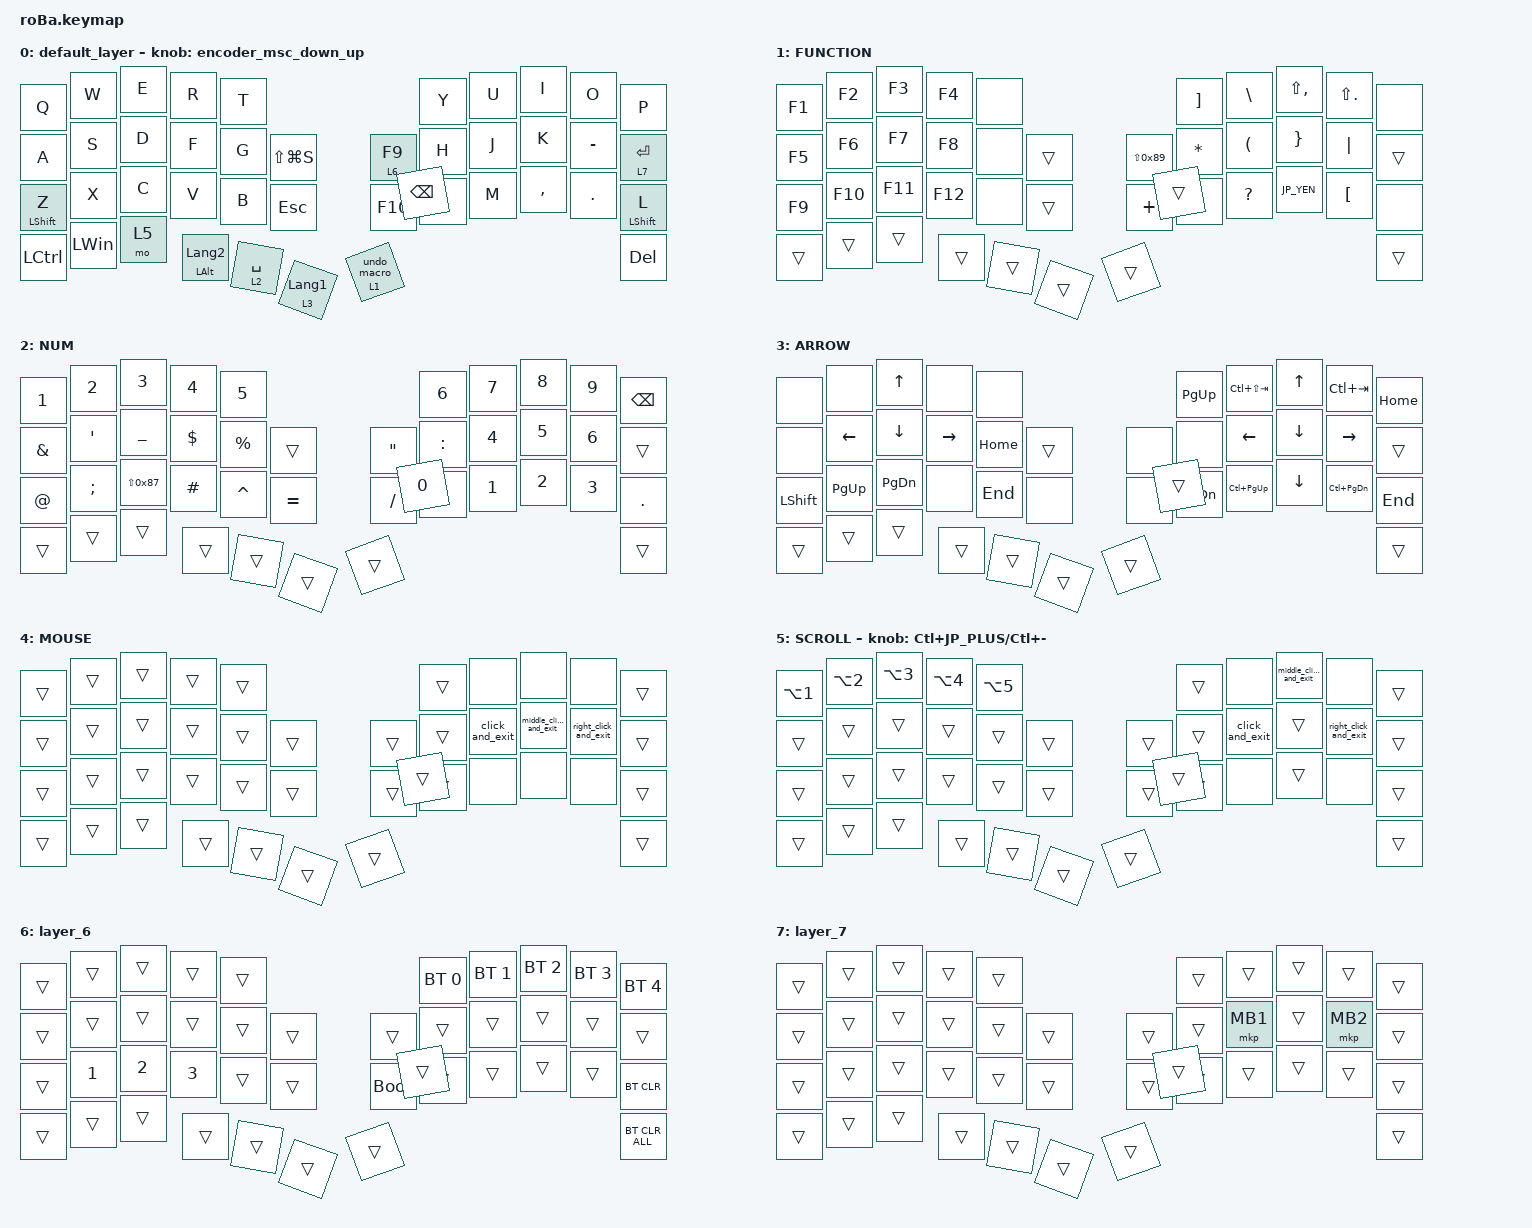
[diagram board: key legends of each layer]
#include <input/processors.dtsi>
#include <behaviors.dtsi>
#include <dt-bindings/zmk/bt.h>
#include <dt-bindings/zmk/keys.h>
#include <dt-bindings/zmk/pointing.h>

// OS設定を日本語キーボードのまま使用するための変換定義

#define JP_DQUOTE       AT                // "
#define JP_AMPERSAND    CARET             // &
#define JP_QUOTE        AMPERSAND         // '
#define JP_EQUAL        UNDER             // =
#define JP_CARET        EQUAL             // ^
#define JP_YEN          0x89              // ¥
#define JP_PLUS         COLON             // +
#define JP_TILDE        PLUS              // ~
#define JP_PIPE         LS(0x89)          // |
#define JP_AT           LEFT_BRACKET      // @
#define JP_COLON        SINGLE_QUOTE      // :
#define JP_ASTERISK     DOUBLE_QUOTES     // *
#define JP_BACKQUOTE    LEFT_BRACE        // `
#define JP_UNDERSCORE   LS(0x87)          // _
#define JP_LBRACKET     RIGHT_BRACKET     // [
#define JP_RBRACKET     BACKSLASH         // ]
#define JP_LPAREN       ASTERISK          // (
#define JP_RPAREN       LEFT_PARENTHESIS  // )
#define JP_LBRACE       RIGHT_BRACE       // {
#define JP_RBRACE       PIPE              // }
#define JP_KANA         LANGUAGE_1        // かな
#define JP_EISU         LANGUAGE_2        // 英数
#define JP_HANZEN       GRAVE             // 半角/全角
#define MOUSE 4
#define ZMK_POINTING_DEFAULT_SCRL_VAL 80

&zip_temp_layer {
    require-prior-idle-ms = <200>;
    excluded-positions = <
        18 // あなたのキーボードの正しいJの番号
        19 // 正しいIの番号
        20 // 正しいLの番号
    >;
};

&trackball_listener {
    status = "okay";
    device = <&trackball>;

    //    input-processors = <&zip_temp_layer MOUSE 4000>, <&zip_xy_scaler 3 2>;

    smaller_dpi {
        layers = <5>;
        input-processors =  <&zip_xy_scaler 1 5>; //<&zip_temp_layer MOUSE 4000>,
    };

    change_layer {
        layers = <0>;
        input-processors = <&zip_xy_scaler 5 2>; //, <&zip_temp_layer MOUSE 4000>;
    };
};

&mt {
    flavor = "balanced";
    quick-tap-ms = <0>;
    tapping-term-ms = <200>;
};

&trackball {
    automouse-layer = <255>;
    scroll-layers = <255>;

    // arrows {
    //     layers = <3>;
    //     bindings =
    //         <&kp RIGHT_ARROW>,
    //         <&kp LEFT_ARROW>,
    //         <&kp UP_ARROW>,
    //         <&kp DOWN_ARROW>;
    //     tick = <10>;
    //     wait-ms = <5>;
    //     tap-ms = <5>;
    // };
};

/ {
    combos {
        compatible = "zmk,combos";

        tab {
            bindings = <&kp TAB>;
            key-positions = <11 12>;
        };

        shift_tab {
            bindings = <&kp LS(TAB)>;
            key-positions = <12 13>;
        };

        muhennkann {
            bindings = <&to_layer_0 INT_MUHENKAN>;
            key-positions = <11 10>;
        };

        right {
            bindings = <&kp RIGHT_ARROW>;
            key-positions = <19 20>;
        };

        left {
            bindings = <&kp LEFT_ARROW>;
            key-positions = <18 19>;
        };

        c_F2 {
            bindings = <&kp F2>;
            key-positions = <1 2>;
        };

        ue {
            bindings = <&kp UP_ARROW>;
            key-positions = <7 8>;
        };

        shita {
            bindings = <&kp DOWN_ARROW>;
            key-positions = <31 32>;
        };
    };

    macros {
        to_layer_0: to_layer_0 {
            compatible = "zmk,behavior-macro-one-param";
            #binding-cells = <1>;
            bindings = <&to 0 &macro_param_1to1 &kp MACRO_PLACEHOLDER>;
            label = "TO_LAYER_0";
        };

        exit_AML: exit_AML {
            compatible = "zmk,behavior-macro";
            wait-ms = <0>;
            tap-ms = <0>;
            #binding-cells = <0>;
            bindings = <&tog_off MOUSE>;
            label = "exit_AML";
        };

        kp_exit_AML: kp_exit_AML {
            compatible = "zmk,behavior-macro-one-param";
            wait-ms = <0>;
            tap-ms = <0>;
            #binding-cells = <1>;
            bindings = <&macro_param_1to1 &kp MACRO_PLACEHOLDER &exit_AML>;
            label = "KP_exit_AML";
        };

        click_and_exit: click_and_exit {
            label = "CLICK_AND_EXIT";
            compatible = "zmk,behavior-macro";
            #binding-cells = <0>;
            bindings =
                <&macro_press>,
                <&mkp MB1>,
                <&macro_pause_for_release>,
                <&macro_release>,
                <&mkp MB1>,
                <&macro_tap>,
                <&to 0>,
                <&macro_tap>,
                <&sl_mouse 5>;
        };

        right_click_and_exit: right_click_and_exit {
            label = "RIGHT_CLICK_AND_EXIT";
            compatible = "zmk,behavior-macro";
            #binding-cells = <0>;
            bindings =
                <&macro_press>,
                <&mkp MB2>,
                <&macro_pause_for_release>,
                <&macro_release>,
                <&mkp MB2>,
                <&macro_tap>,
                <&to 0>,
                <&macro_tap>,
                <&sl_mouse 5>;
        };

        middle_click_and_exit: middle_click_and_exit {
            label = "MIDDLE_CLICK_AND_EXIT";
            compatible = "zmk,behavior-macro";
            #binding-cells = <0>;
            bindings =
                <&macro_press>,
                <&mkp MB3>,
                <&macro_pause_for_release>,
                <&macro_release>,
                <&mkp MB3>,
                <&macro_tap>,
                <&to 0>,
                <&macro_tap>,
                <&sl_mouse 5>;
        };

        // 【追加】Ctrl + Z を押すマクロ

        undo_macro: undo_macro {
            compatible = "zmk,behavior-macro";
            #binding-cells = <0>;
            bindings = <&kp LC(Z)>;
            label = "UNDO_MACRO";
        };
    };

    behaviors {
        sl_mouse: sticky_layer_for_mouse {
            compatible = "zmk,behavior-sticky-key";
            #binding-cells = <1>;
            bindings = <&mo>;
            release-after-ms = <200>; // 200msだけクリック用レイヤに移動する（必要に応じて時間を変更）
            quick-release;
            ignore-modifiers;
        };

        lt_to_layer_0: lt_to_layer_0 {
            compatible = "zmk,behavior-hold-tap";
            label = "LAYER_TAP_TO_0";
            bindings = <&mo>, <&to_layer_0>;

            #binding-cells = <2>;
            tapping-term-ms = <200>;
        };

        tog_off: toggle_layer_off {
            compatible = "zmk,behavior-toggle-layer";
            #binding-cells = <1>;
            display-name = "Toggle Layer Off";
            toggle-mode = "off";
        };

        // 【追加】ホールドでレイヤー移動、タップでマクロ（Ctrl+Z）を実行する設定

        lt_undo: lt_undo {
            compatible = "zmk,behavior-hold-tap";
            label = "LT_UNDO";
            bindings = <&mo>, <&undo_macro>;

            // ホールドでmo、タップでマクロ

            #binding-cells = <2>;
            tapping-term-ms = <200>;
        };

        encoder_msc_down_up: encoder_msc_down_up {
            compatible = "zmk,behavior-sensor-rotate";
            label = "ENCODER_MSC_DOWN_UP";
            #sensor-binding-cells = <0>;
            bindings = <&msc SCRL_UP>, <&msc SCRL_DOWN>;

            tap-ms = <20>;
        };
    };

    keymap {
        compatible = "zmk,keymap";

        default_layer {
            bindings = <
&kp Q             &kp W         &kp E  &kp R                 &kp T                                                    &kp Y          &kp U  &kp I      &kp O      &kp P
&kp A             &kp S         &kp D  &kp F                 &kp G        &kp LS(LG(S))                 &lt 6 F9      &kp H          &kp J  &kp K      &kp MINUS  &lt 7 ENTER
&mt LEFT_SHIFT Z  &kp X         &kp C  &kp V                 &kp B        &kp ESCAPE                    &kp F10       &kp N          &kp M  &kp COMMA  &kp DOT    &mt LEFT_SHIFT L
&kp LEFT_CONTROL  &kp LEFT_WIN  &mo 5  &mt LEFT_ALT JP_EISU  &lt 2 SPACE  &lt_to_layer_0 3 JP_KANA      &lt_undo 1 0  &kp BACKSPACE                               &kp DEL
            >;

            sensor-bindings = <&encoder_msc_down_up>;
        };

        FUNCTION {
            bindings = <
&kp F1  &kp F2   &kp F3   &kp F4   &none                             &kp JP_LBRACKET  &kp JP_RBRACKET  &kp LS(COMMA)  &kp LS(DOT)    &none
&kp F5  &kp F6   &kp F7   &kp F8   &none   &trans      &kp JP_PIPE   &kp JP_LPAREN    &kp JP_RPAREN    &kp JP_LBRACE  &kp JP_RBRACE  &trans
&kp F9  &kp F10  &kp F11  &kp F12  &none   &trans      &kp JP_TILDE  &kp EXCL         &kp QUESTION     &kp JP_YEN     &kp JP_AT      &none
&trans  &trans   &trans   &trans   &trans  &trans      &trans        &trans                                                          &trans
            >;
        };

        NUM {
            bindings = <
&kp NUMBER_1   &kp NUMBER_2   &kp NUMBER_3       &kp NUMBER_4  &kp NUMBER_5                                         &kp NUMBER_6  &kp NUMBER_7  &kp NUMBER_8  &kp NUMBER_9  &kp BACKSPACE
&kp JP_QUOTE   &kp JP_COLON   &kp JP_EQUAL       &kp DOLLAR    &kp PERCENT       &trans            &kp JP_ASTERISK  &kp JP_PLUS   &kp NUMBER_4  &kp NUMBER_5  &kp NUMBER_6  &trans
&kp JP_DQUOTE  &kp SEMICOLON  &kp JP_UNDERSCORE  &kp HASH      &kp JP_AMPERSAND  &kp JP_CARET      &kp SLASH        &kp MINUS     &kp NUMBER_1  &kp NUMBER_2  &kp NUMBER_3  &kp DOT
&trans         &trans         &trans             &trans        &trans            &trans            &trans           &kp NUMBER_0                                            &trans
            >;
        };

        ARROW {
            bindings = <
&none           &none           &kp UP_ARROW    &none      &none                         &kp PAGE_UP    &kp LC(LS(TAB))  &kp UP_ARROW    &kp LC(TAB)        &kp HOME
&none           &kp LEFT_ARROW  &kp DOWN_ARROW  &kp RIGHT  &kp HOME  &trans      &none   &none          &kp LEFT_ARROW   &kp DOWN_ARROW  &kp RIGHT_ARROW    &trans
&kp LEFT_SHIFT  &kp PG_UP       &kp PG_DN       &none      &kp END   &none       &none   &kp PAGE_DOWN  &kp LC(PAGE_UP)  &kp DOWN_ARROW  &kp LC(PAGE_DOWN)  &kp END
&trans          &trans          &trans          &trans     &trans    &trans      &trans  &trans                                                             &trans
            >;
        };

        MOUSE {
            bindings = <
&trans  &trans  &trans  &trans  &trans                      &trans  &none            &none                   &none                  &trans
&trans  &trans  &trans  &trans  &trans  &trans      &trans  &trans  &click_and_exit  &middle_click_and_exit  &right_click_and_exit  &trans
&trans  &trans  &trans  &trans  &trans  &trans      &trans  &trans  &none            &none                   &none                  &trans
&trans  &trans  &trans  &trans  &trans  &trans      &trans  &trans                                                                  &trans
            >;
        };

        SCROLL {
            bindings = <
&kp LA(NUMBER_1)  &kp LA(NUMBER_2)  &kp LA(NUMBER_3)  &kp LA(NUMBER_4)  &kp LA(NUMBER_5)                      &trans  &none            &middle_click_and_exit  &none                  &trans
&trans            &trans            &trans            &trans            &trans            &trans      &trans  &trans  &click_and_exit  &trans                  &right_click_and_exit  &trans
&trans            &trans            &trans            &trans            &trans            &trans      &trans  &trans  &none            &trans                  &none                  &trans
&trans            &trans            &trans            &trans            &trans            &trans      &trans  &trans                                                                  &trans
            >;

            sensor-bindings = <&inc_dec_kp LC(JP_PLUS) LC(MINUS)>;
        };

        layer_6 {
            bindings = <
&trans  &trans        &trans        &trans        &trans                           &bt BT_SEL 0  &bt BT_SEL 1  &bt BT_SEL 2  &bt BT_SEL 3  &bt BT_SEL 4
&trans  &trans        &trans        &trans        &trans  &trans      &trans       &trans        &trans        &trans        &trans        &trans
&trans  &kp NUMBER_1  &kp NUMBER_2  &kp NUMBER_3  &trans  &trans      &bootloader  &trans        &trans        &trans        &trans        &bt BT_CLR
&trans  &trans        &trans        &trans        &trans  &trans      &trans       &trans                                                  &bt BT_CLR_ALL
            >;
        };

        layer_7 {
            bindings = <
&trans  &trans  &trans  &trans  &trans                      &trans  &trans    &trans  &trans    &trans
&trans  &trans  &trans  &trans  &trans  &trans      &trans  &trans  &mkp MB1  &trans  &mkp MB2  &trans
&trans  &trans  &trans  &trans  &trans  &trans      &trans  &trans  &trans    &trans  &trans    &trans
&trans  &trans  &trans  &trans  &trans  &trans      &trans  &trans                              &trans
            >;
        };
    };
};
